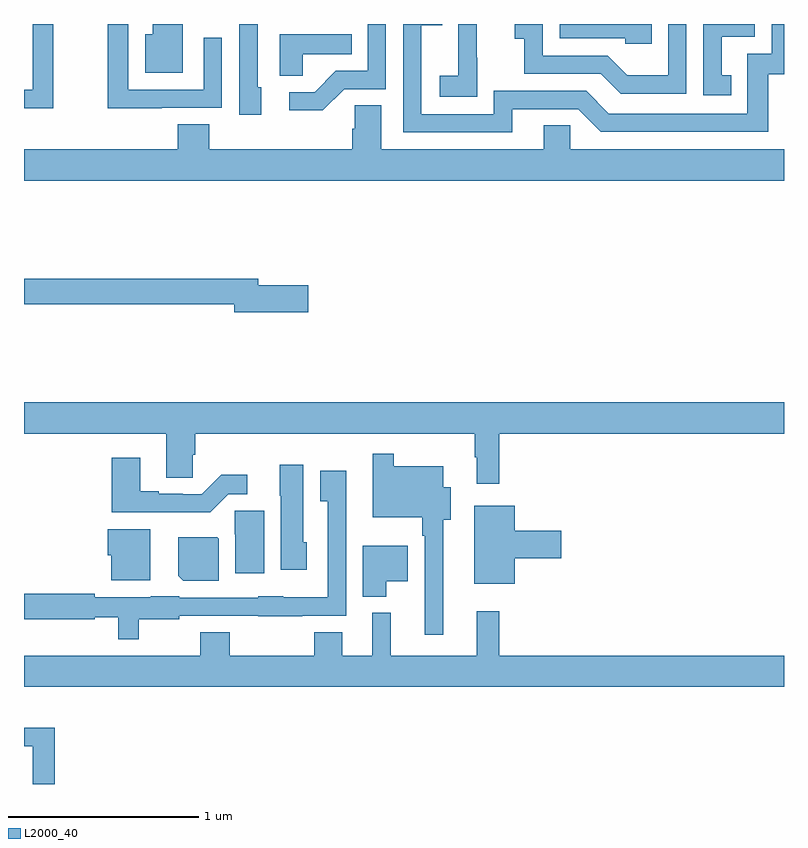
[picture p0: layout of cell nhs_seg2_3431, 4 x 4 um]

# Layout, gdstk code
import gdstk
lib = gdstk.Library(unit=1e-6, precision=1e-09)
def P(c, l, *ps):  # polygons
    for p in ps: c.add(gdstk.Polygon(p, *l))
L2000_40 = (2000, 40)

nhs_seg2_3431 = lib.new_cell('nhs_seg2_3431')
P(nhs_seg2_3431, L2000_40, [(291.154,641.8),(291.045,641.8),(291.045,641.454),(291,641.454),(291,641.357),(291.154,641.357)],
  [(291.725,641.358),(292.041,641.358),(292.041,641.728),(291.945,641.728),(291.945,641.454),(291.549,641.454),(291.549,641.8),(291.441,641.8),(291.441,641.357),(291.725,641.357)],
  [(291.835,641.8),(291.677,641.8),(291.677,641.746),(291.638,641.746),(291.638,641.543),(291.835,641.543)],
  [(292.686,641.457),(292.905,641.457),(292.905,641.8),(292.809,641.8),(292.809,641.553),(292.64,641.553),(292.529,641.442),(292.395,641.442),(292.395,641.345),(292.573,641.345)],
  [(293.569,641.352),(293.916,641.352),(294.036,641.232),(294.916,641.232),(294.916,641.535),(295,641.535),(295,641.8),(294.936,641.8),(294.936,641.643),(294.807,641.643),(294.807,641.328),(294.078,641.328),(293.958,641.448),(293.472,641.448),(293.472,641.325),(293.091,641.325),(293.091,641.794),(293.201,641.794),(293.201,641.8),(292.995,641.8),(292.995,641.229),(293.569,641.229)],
  [(292.249,641.466),(292.23,641.466),(292.23,641.8),(292.134,641.8),(292.134,641.322),(292.249,641.322)],
  [(294.486,641.8),(294.39,641.8),(294.39,641.53),(294.176,641.53),(294.072,641.634),(293.73,641.634),(293.73,641.8),(293.583,641.8),(293.583,641.723),(293.632,641.723),(293.632,641.538),(294.035,641.538),(294.14,641.433),(294.486,641.433)],
  [(294.722,641.529),(294.673,641.529),(294.673,641.733),(294.846,641.733),(294.846,641.8),(294.576,641.8),(294.576,641.424),(294.722,641.424)],
  [(293.385,641.623),(293.384,641.623),(293.384,641.8),(293.286,641.8),(293.286,641.756),(293.285,641.756),(293.285,641.527),(293.187,641.527),(293.187,641.417),(293.385,641.417)],
  [(294.305,641.8),(293.82,641.8),(293.82,641.724),(294.165,641.724),(294.165,641.697),(294.305,641.697)],
  [(292.467,641.642),(292.724,641.642),(292.724,641.746),(292.346,641.746),(292.346,641.527),(292.467,641.527)],
  [(295,641.14),(293.874,641.14),(293.874,641.267),(293.735,641.267),(293.735,641.14),(292.879,641.14),(292.879,641.372),(292.74,641.372),(292.74,641.249),(292.727,641.249),(292.727,641.14),(291.974,641.14),(291.974,641.273),(291.809,641.273),(291.809,641.14),(291,641.14),(291,640.976),(295,640.976)],
  [(292.495,640.424),(292.234,640.424),(292.234,640.46),(291,640.46),(291,640.324),(292.106,640.324),(292.106,640.282),(292.495,640.282)],
  [(293.501,639.644),(295,639.644),(295,639.808),(291,639.808),(291,639.644),(291.749,639.644),(291.749,639.412),(291.888,639.412),(291.888,639.534),(291.902,639.534),(291.902,639.644),(293.373,639.644),(293.373,639.521),(293.384,639.521),(293.384,639.381),(293.501,639.381)],
  [(293.206,639.191),(293.245,639.191),(293.245,639.361),(293.206,639.361),(293.206,639.472),(292.945,639.472),(292.945,639.538),(292.836,639.538),(292.836,639.203),(293.097,639.203),(293.097,639.107),(293.109,639.107),(293.109,638.586),(293.206,638.586)],
  [(292.074,639.324),(292.174,639.324),(292.174,639.427),(292.039,639.427),(291.936,639.324),(291.836,639.324),(291.836,639.327),(291.709,639.327),(291.709,639.34),(291.613,639.34),(291.613,639.517),(291.461,639.517),(291.461,639.23),(291.979,639.23)],
  [(292.489,639.072),(292.471,639.072),(292.471,639.481),(292.346,639.481),(292.346,639.318),(292.352,639.318),(292.352,638.928),(292.489,638.928)],
  [(291.604,638.666),(291.816,638.666),(291.816,638.685),(292.233,638.685),(292.233,638.684),(292.465,638.684),(292.465,638.685),(292.695,638.685),(292.695,639.207),(292.696,639.207),(292.696,639.448),(292.559,639.448),(292.559,639.287),(292.599,639.287),(292.599,638.782),(292.365,638.782),(292.365,638.788),(292.233,638.788),(292.233,638.781),(291.816,638.781),(291.816,638.788),(291.666,638.788),(291.666,638.782),(291.372,638.782),(291.372,638.801),(291,638.801),(291,638.666),(291.372,638.666),(291.372,638.678),(291.495,638.678),(291.495,638.561),(291.604,638.561)],
  [(293.584,638.987),(293.827,638.987),(293.827,639.134),(293.584,639.134),(293.584,639.265),(293.369,639.265),(293.369,638.855),(293.584,638.855)],
  [(292.264,639.237),(292.108,639.237),(292.108,639.114),(292.112,639.114),(292.112,638.91),(292.264,638.91)],
  [(291.664,639.142),(291.44,639.142),(291.44,639.003),(291.458,639.003),(291.458,638.873),(291.664,638.873)],
  [(292.024,639.092),(292.016,639.1),(291.812,639.1),(291.812,638.896),(291.838,638.87),(292.024,638.87)],
  [(292.906,638.867),(293.02,638.867),(293.02,639.055),(292.784,639.055),(292.784,638.786),(292.906,638.786)],
  [(295,638.476),(293.501,638.476),(293.501,638.71),(293.384,638.71),(293.384,638.476),(292.931,638.476),(292.931,638.701),(292.832,638.701),(292.832,638.476),(292.675,638.476),(292.675,638.6),(292.528,638.6),(292.528,638.476),(292.083,638.476),(292.083,638.6),(291.928,638.6),(291.928,638.476),(291,638.476),(291,638.312),(295,638.312)],
  [(291.161,638.096),(291,638.096),(291,637.998),(291.045,637.998),(291.045,637.8),(291.161,637.8)])

lib.write_gds('nhs_seg2_3431.gds')
